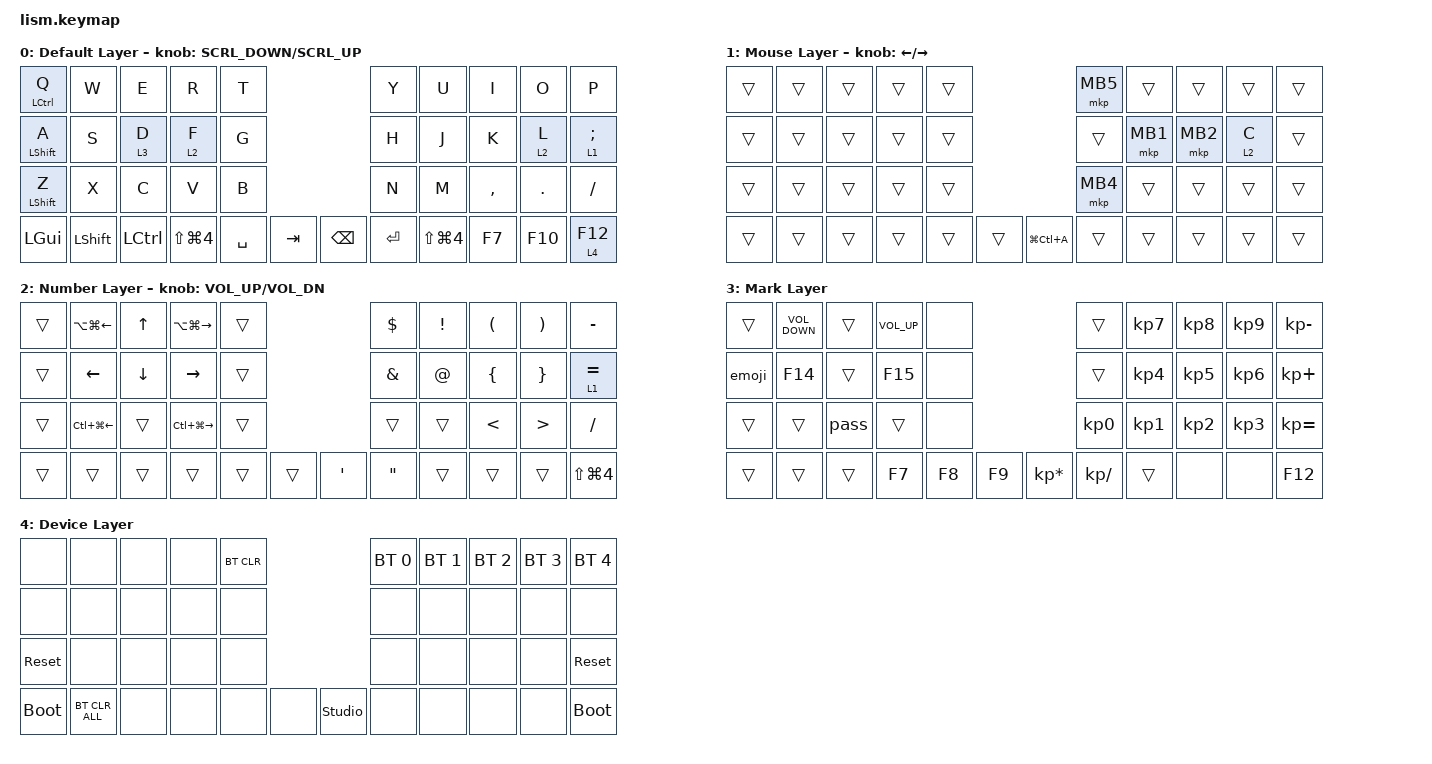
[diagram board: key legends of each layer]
#define ZMK_POINTING_DEFAULT_SCRL_VAL 200

#include <dt-bindings/zmk/mouse.h>
#include <behaviors.dtsi>
#include <dt-bindings/zmk/bt.h>
#include <dt-bindings/zmk/keys.h>
#include <dt-bindings/zmk/pointing.h>

&mt {
    tapping-term-ms = <300>;
    flavor = "balanced";
};

&lt { quick-tap-ms = <300>; };

/ {
    macros {
        emoji: emoji_macro {
            compatible = "zmk,behavior-macro";
            label = "EMOJI";
            #binding-cells = <0>;
            bindings =
                <&macro_press>,
                <&kp CAPSLOCK>,
                <&macro_tap>,
                <&kp E>,
                <&macro_release>,
                <&kp CAPSLOCK>;
        };

        pass: new_macro {
            compatible = "zmk,behavior-macro";
            #binding-cells = <0>;
            bindings = <&kp KP_NUMBER_1 &kp KP_NUMBER_1 &kp KP_NUMBER_2 &kp KP_NUMBER_8 &kp KP_NUMBER_1 &kp KP_NUMBER_2 &kp KP_NUMBER_1 &kp KP_NUMBER_2 &kp ENTER &kp LS(LG(UP_ARROW)) &kp BACKSPACE>;
            label = "NEW_MACRO";
        };
    };

    behaviors {
        encoder_msc: sensor_rotate_msc {
            compatible = "zmk,behavior-sensor-rotate-var";
            #sensor-binding-cells = <2>;
            bindings = <&msc>, <&msc>;

            tap-ms = <20>;
        };

        encoder_kp: sensor_rotate_kp {
            compatible = "zmk,behavior-sensor-rotate-var";
            #sensor-binding-cells = <2>;
            bindings = <&kp>, <&kp>;
        };
    };

    keymap {
        compatible = "zmk,keymap";

        default_layer {
            display-name = "Default Layer";
            bindings = <
&mt LEFT_CONTROL Q  &kp W           &kp E             &kp R           &kp T                                &kp Y      &kp U           &kp I      &kp O    &kp P
&mt LEFT_SHIFT A    &kp S           &lt 3 D           &lt 2 F         &kp G                                &kp H      &kp J           &kp K      &lt 2 L  &lt 1 SEMICOLON
&mt LEFT_SHIFT Z    &kp X           &kp C             &kp V           &kp B                                &kp N      &kp M           &kp COMMA  &kp DOT  &kp SLASH
&kp LEFT_GUI        &kp LEFT_SHIFT  &kp LEFT_CONTROL  &kp LS(LG(N4))  &kp SPACE  &kp TAB    &kp BACKSPACE  &kp ENTER  &kp LS(LG(N4))  &kp F7     &kp F10  &lt 4 F12
            >;

            sensor-bindings = <&encoder_msc SCRL_DOWN SCRL_UP>;
        };

        layer_1 {
            display-name = "Mouse Layer";
            bindings = <
&trans  &trans  &trans  &trans  &trans                           &mkp MB5  &trans    &trans    &trans   &trans
&trans  &trans  &trans  &trans  &trans                           &trans    &mkp MB1  &mkp MB2  &lt 2 C  &trans
&trans  &trans  &trans  &trans  &trans                           &mkp MB4  &trans    &trans    &trans   &trans
&trans  &trans  &trans  &trans  &trans  &trans    &kp LG(LC(A))  &trans    &trans    &trans    &trans   &trans
            >;

            sensor-bindings = <&encoder_kp LEFT_ARROW RIGHT_ARROW>;
        };

        layer_2 {
            display-name = "Number Layer";
            bindings = <
&trans  &kp LA(LG(LEFT_ARROW))  &kp UP_ARROW    &kp LA(LG(RIGHT_ARROW))  &trans                              &kp DOLLAR         &kp EXCLAMATION  &kp LEFT_PARENTHESIS  &kp RIGHT_PARENTHESIS  &kp MINUS
&trans  &kp LEFT_ARROW          &kp DOWN_ARROW  &kp RIGHT_ARROW          &trans                              &kp AMPERSAND      &kp AT_SIGN      &kp LEFT_BRACE        &kp RIGHT_BRACE        &lt 1 EQUAL
&trans  &kp LC(LG(LEFT_ARROW))  &trans          &kp LC(LG(RIGHT_ARROW))  &trans                              &trans             &trans           &kp LESS_THAN         &kp GREATER_THAN       &kp SLASH
&trans  &trans                  &trans          &trans                   &trans  &trans    &kp SINGLE_QUOTE  &kp DOUBLE_QUOTES  &trans           &trans                &trans                 &kp LS(LG(NUMBER_4))
            >;

            sensor-bindings = <&encoder_kp C_VOL_UP C_VOL_DN>;
        };

        layer_3 {
            display-name = "Mark Layer";
            bindings = <
&trans  &kp C_VOLUME_DOWN  &trans  &kp C_VOLUME_UP  &none                              &trans           &kp KP_NUMBER_7  &kp KP_NUMBER_8  &kp KP_NUMBER_9  &kp KP_MINUS
&emoji  &kp F14            &trans  &kp F15          &none                              &trans           &kp KP_NUMBER_4  &kp KP_NUMBER_5  &kp KP_NUMBER_6  &kp KP_PLUS
&trans  &trans             &pass   &trans           &none                              &kp KP_NUMBER_0  &kp KP_NUMBER_1  &kp KP_NUMBER_2  &kp KP_NUMBER_3  &kp KP_EQUAL
&trans  &trans             &trans  &kp F7           &kp F8  &kp F9    &kp KP_ASTERISK  &kp KP_SLASH     &trans           &none            &none            &kp F12
            >;
        };

        layer_4 {
            display-name = "Device Layer";
            bindings = <
&none        &none           &none  &none  &bt BT_CLR                           &bt BT_SEL 0  &bt BT_SEL 1  &bt BT_SEL 2  &bt BT_SEL 3  &bt BT_SEL 4
&none        &none           &none  &none  &none                                &none         &none         &none         &none         &none
&sys_reset   &none           &none  &none  &none                                &none         &none         &none         &none         &sys_reset
&bootloader  &bt BT_CLR_ALL  &none  &none  &none       &none    &studio_unlock  &none         &none         &none         &none         &bootloader
            >;
        };

        layer_5 {
            status = "reserved";
            display-name = "Brank Layer";
            bindings = <
&trans  &trans  &trans  &trans  &trans                    &trans  &trans  &trans  &trans  &trans
&trans  &trans  &trans  &trans  &trans                    &trans  &trans  &trans  &trans  &trans
&trans  &trans  &trans  &trans  &trans                    &trans  &trans  &trans  &trans  &trans
&trans  &trans  &trans  &trans  &trans  &trans    &trans  &trans  &trans  &trans  &trans  &trans
            >;
        };

        layer_6 {
            status = "reserved";
            display-name = "Brank Layer";
            bindings = <
&trans  &trans  &trans  &trans  &trans                    &trans  &trans  &trans  &trans  &trans
&trans  &trans  &trans  &trans  &trans                    &trans  &trans  &trans  &trans  &trans
&trans  &trans  &trans  &trans  &trans                    &trans  &trans  &trans  &trans  &trans
&trans  &trans  &trans  &trans  &trans  &trans    &trans  &trans  &trans  &trans  &trans  &trans
            >;
        };

        layer_7 {
            status = "reserved";
            display-name = "Brank Layer";
            bindings = <
&trans  &trans  &trans  &trans  &trans                    &trans  &trans  &trans  &trans  &trans
&trans  &trans  &trans  &trans  &trans                    &trans  &trans  &trans  &trans  &trans
&trans  &trans  &trans  &trans  &trans                    &trans  &trans  &trans  &trans  &trans
&trans  &trans  &trans  &trans  &trans  &trans    &trans  &trans  &trans  &trans  &trans  &trans
            >;
        };
    };
};
